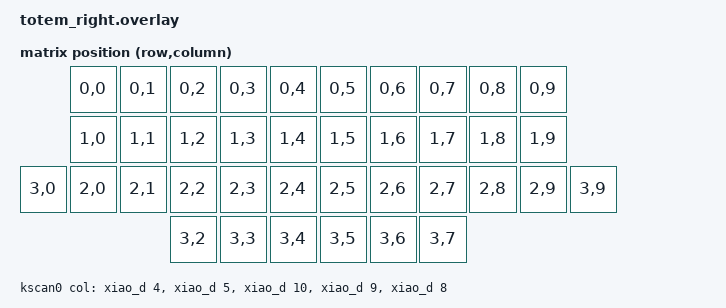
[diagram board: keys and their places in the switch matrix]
/*
 * Copyright (c) 2022 The ZMK Contributors
 *
 * SPDX-License-Identifier: MIT
 */

#include "totem.dtsi"

/ {
    chosen {
        zmk,matrix-transform = &right_transform_v2;
    };

    right_transform_v2: keymap_transform_right_v2 {
        compatible = "zmk,matrix-transform";
        columns = <10>;
        rows = <4>;
        // Alternative mapping for this specific keyboard
        // Try different mapping to see if this fixes the issue
        map = <
                RC(0,0) RC(0,1) RC(0,2) RC(0,3) RC(0,4)    RC(0,5) RC(0,6) RC(0,7) RC(0,8) RC(0,9)
                RC(1,0) RC(1,1) RC(1,2) RC(1,3) RC(1,4)    RC(1,5) RC(1,6) RC(1,7) RC(1,8) RC(1,9)
        RC(3,0) RC(2,0) RC(2,1) RC(2,2) RC(2,3) RC(2,4)    RC(2,5) RC(2,6) RC(2,7) RC(2,8) RC(2,9) RC(3,9)
                                RC(3,2) RC(3,3) RC(3,4)    RC(3,5) RC(3,6) RC(3,7)         
        >;
    };
};

&kscan0 {
    col-gpios
        = <&xiao_d 4 GPIO_ACTIVE_HIGH>
        , <&xiao_d 5 GPIO_ACTIVE_HIGH>
        , <&xiao_d 10 GPIO_ACTIVE_HIGH>
        , <&xiao_d 9 GPIO_ACTIVE_HIGH>
        , <&xiao_d 8 GPIO_ACTIVE_HIGH>
        ;
};
